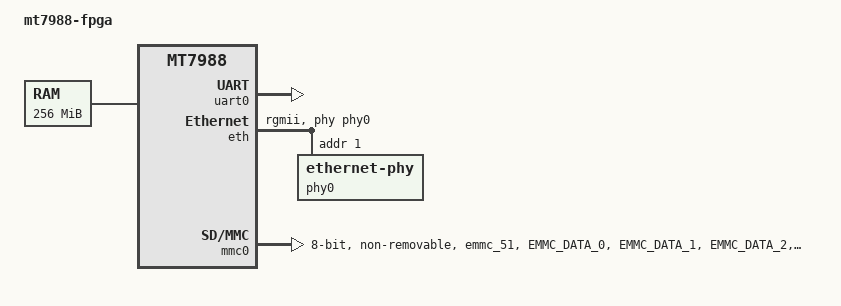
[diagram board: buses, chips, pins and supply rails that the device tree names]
// SPDX-License-Identifier: GPL-2.0
/*
 * Copyright (c) 2021 MediaTek Inc.
 * Author: Sam Shih <sam.shih@mediatek.com>
 */

/dts-v1/;
#include "mt7988-fpga.dtsi"
#include <dt-bindings/gpio/gpio.h>

/ {
	model = "mt7988-fpga";
	compatible = "mediatek,mt7988-fpga";
	chosen {
		stdout-path = &uart0;
	};

	memory@40000000 {
		device_type = "memory";
		reg = <0 0x40000000 0 0x10000000>;
	};
};

&uart0 {
	status = "okay";
};

&eth {
	status = "okay";
	mediatek,gmac-id = <0>;
	phy-mode = "rgmii";
	phy-handle = <&phy0>;

	phy0: ethernet-phy@0 {
		reg = <1>;
	};
};

&pinctrl {
	mmc0_pins_default: mmc0default {
		mux {
			function = "flash";
			groups =  "emmc_51";
		};

		conf-cmd-dat {
			pins = "EMMC_DATA_0", "EMMC_DATA_1", "EMMC_DATA_2",
			       "EMMC_DATA_3", "EMMC_DATA_4", "EMMC_DATA_5",
			       "EMMC_DATA_6", "EMMC_DATA_7", "EMMC_CMD";
			input-enable;
		};

		conf-clk {
			pins = "EMMC_CK";
		};

		conf-dsl {
			pins = "EMMC_DSL";
		};

		conf-rst {
			pins = "EMMC_RSTB";
		};
	};
};

&mmc0 {
	pinctrl-names = "default";
	pinctrl-0 = <&mmc0_pins_default>;
	max-frequency = <52000000>;
	bus-width = <8>;
	cap-mmc-highspeed;
	cap-mmc-hw-reset;
	non-removable;
	status = "okay";
};
